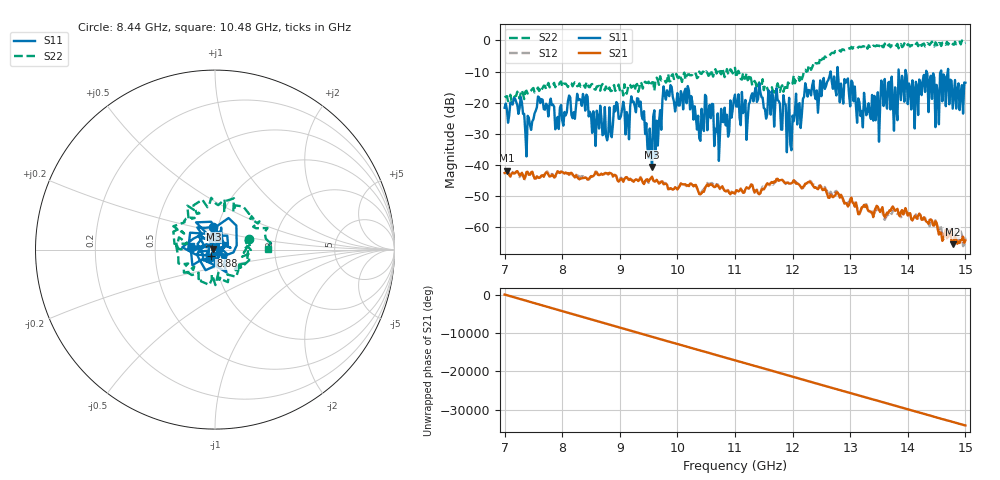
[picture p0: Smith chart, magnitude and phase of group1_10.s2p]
! 4/11/2025 3:25:59 PM
! C:\ANRITSUVNA\LELEC2350\LAB1_2025\GROUP1_10.S2P
! CHANNEL.1
! TR.MEASUREMENT
! CORRECTED.DATA
! RF.CORRECTION: FULL.TWO.PORT.CAL.PORT.1.2
! AVERAGING.OFF
! IF.BANDWIDTH: 300HZ
! SWEEPTYPE:  FREQ.SWEEP(Linear)
! Reference Plane Port Info
! PORT:  PORT1  PORT2
! DISTANCE:  0  m  0  m
! TIME:  0  s  0  s
! PHASE.OFFSET:  0 °  0 °
! LOSS:  0  dB  0  dB
! REF.LOSS:  0  dB  0  dB
! REF.FREQ:  0  Hz  0  Hz
! Power Info
! POWER:  5  dBm  5  dBm
! EFF.POWER:  5  dBm  5  dBm
# GHZ S RI R 50.0
! FREQ.GHZ  S11RE  S11IM  S21RE  S21IM  S12RE  S12IM  S22RE  S22IM
!; PortSelection: Port_12
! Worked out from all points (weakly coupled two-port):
!   401 points, 7 GHz to 15 GHz, reference 50 ohm
!   highest |S21| = -41.86 dB at 7.04 GHz (marker M1); lowest = -65.5 dB at 14.78 GHz (marker M2)
!   lowest |S11| = -40.6 dB at 9.56 GHz (marker M3), VSWR 1.02, Z = 49.1 + j0.298 ohm
!   |S11| at or under -10 dB: start of sweep to 12.66 GHz; 12.79 GHz to 13.84 GHz (1.054 GHz wide, 7.91 % of centre); 13.97 GHz to 14.32 GHz (353.4 MHz wide, 2.5 % of centre) (the widest 3 of 8)
!   |S22| runs from -19.6 to 0.0 dB; largest |S21 - S12| = 0.00079
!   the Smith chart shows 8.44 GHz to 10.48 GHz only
!   S11 on the Smith chart (normalised r, x): 8.44 GHz: 0.94, +0.24; 8.88 GHz: 0.95, -0.07; 10.48 GHz: 0.77, +0.03
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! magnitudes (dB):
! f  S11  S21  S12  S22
! 7 GHz  -21.6  -42.6  -42.7  -18.3
! 7.04 GHz  -22.2  -41.9  -42.1  -17.9
! 7.4 GHz  -24.2  -42.2  -42.4  -17.1
! 7.62 GHz  -20.1  -43.9  -44.0  -15.2
! 7.92 GHz  -24.6  -42.0  -42.0  -13.9
! 8.34 GHz  -21.0  -44.3  -43.6  -14.7
! 8.44 GHz  -18.0  -44.7  -44.8  -14.0
! 8.88 GHz  -27.1  -43.6  -43.8  -15.2
! 9.32 GHz  -18.7  -45.2  -45.0  -16.5
! 9.56 GHz  -40.6  -43.8  -44.2  -13.4
! 9.68 GHz  -26.2  -46.0  -45.7  -14.3
! 9.86 GHz  -17.9  -47.7  -47.8  -13.2
! 10.48 GHz  -17.5  -47.5  -47.1  -10.6
! 10.68 GHz  -29.5  -46.5  -46.2  -10.6
! 11 GHz  -17.4  -49.1  -49.3  -8.8
! 11.74 GHz  -19.1  -44.4  -44.9  -13.8
! 11.94 GHz  -18.4  -46.0  -45.7  -13.9
! 12.34 GHz  -14.6  -46.2  -46.1  -8.6
! 13.48 GHz  -16.6  -53.4  -54.8  -1.8
! 13.68 GHz  -13.3  -54.6  -55.5  -1.3
! 14.78 GHz  -21.9  -65.5  -63.1  -1.2
! 15 GHz  -13.6  -64.2  -63.3  -0.8
